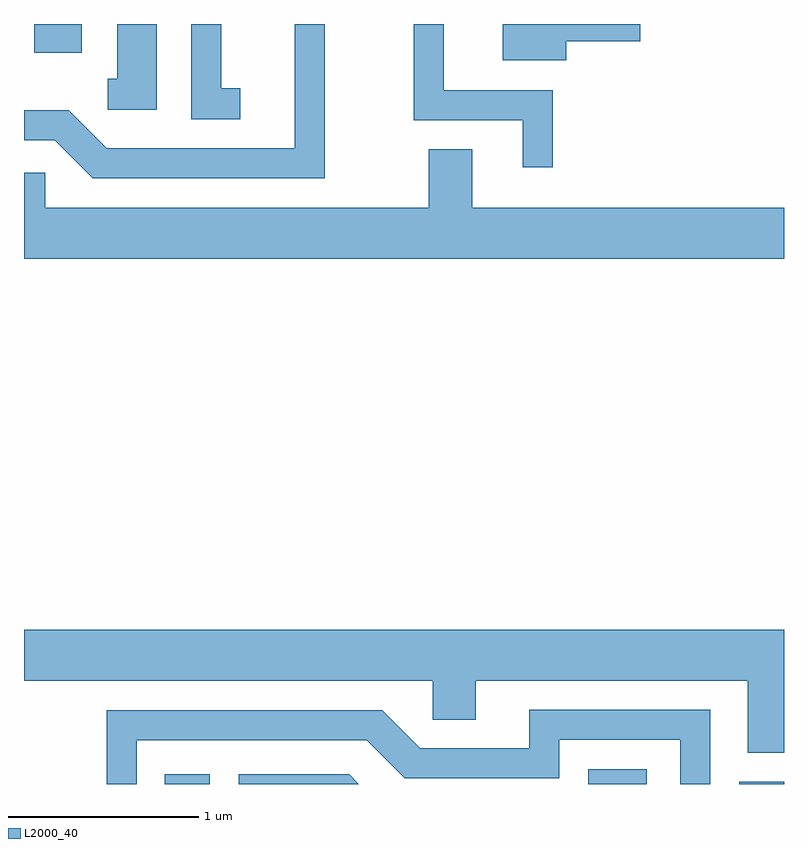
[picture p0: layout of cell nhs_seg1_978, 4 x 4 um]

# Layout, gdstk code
import gdstk
lib = gdstk.Library(unit=1e-6, precision=1e-09)
def R(c, l, rs):  # rectangles x0, y0, x1, y1
    for r in rs: c.add(gdstk.rectangle(r[:2], r[2:], *l))
def P(c, l, *ps):  # polygons
    for p in ps: c.add(gdstk.Polygon(p, *l))
L2000_40 = (2000, 40)

nhs_seg1_978 = lib.new_cell('nhs_seg1_978')
R(nhs_seg1_978, L2000_40, [(216.353,885.712,216.589,885.764), (218.581,885.712,218.889,885.789), (219.376,885.712,219.611,885.724), (215.666,889.561,215.914,889.712)])
P(nhs_seg1_978, L2000_40, [(218.464,889.621),(218.854,889.621),(218.854,889.712),(218.131,889.712),(218.131,889.521),(218.464,889.521)],
  [(217.194,889.712),(217.036,889.712),(217.036,889.059),(216.047,889.059),(215.847,889.259),(215.611,889.259),(215.611,889.101),(215.774,889.101),(215.974,888.901),(217.194,888.901)],
  [(216.748,889.374),(216.649,889.374),(216.649,889.712),(216.491,889.712),(216.491,889.211),(216.748,889.211)],
  [(218.394,889.364),(217.819,889.364),(217.819,889.712),(217.661,889.712),(217.661,889.206),(218.236,889.206),(218.236,888.958),(218.394,888.958)],
  [(216.309,889.712),(216.101,889.712),(216.101,889.424),(216.053,889.424),(216.053,889.261),(216.309,889.261)],
  [(219.611,888.744),(217.969,888.744),(217.969,889.054),(217.741,889.054),(217.741,888.744),(215.724,888.744),(215.724,888.929),(215.611,888.929),(215.611,888.476),(219.611,888.476)],
  [(219.611,886.524),(215.611,886.524),(215.611,886.256),(217.761,886.256),(217.761,886.051),(217.989,886.051),(217.989,886.256),(219.421,886.256),(219.421,885.876),(219.611,885.876)],
  [(216.204,885.941),(217.414,885.941),(217.614,885.741),(218.429,885.741),(218.429,885.946),(219.066,885.946),(219.066,885.712),(219.224,885.712),(219.224,886.104),(218.271,886.104),(218.271,885.899),(217.697,885.899),(217.497,886.099),(216.046,886.099),(216.046,885.712),(216.204,885.712)],
  [(217.322,885.764),(216.741,885.764),(216.741,885.712),(217.374,885.712)])

lib.write_gds('nhs_seg1_978.gds')
